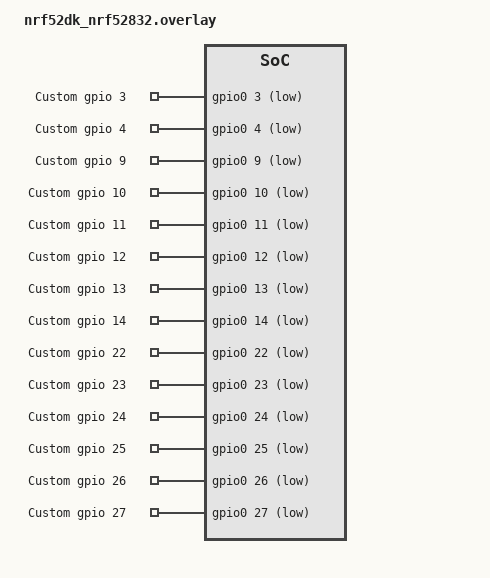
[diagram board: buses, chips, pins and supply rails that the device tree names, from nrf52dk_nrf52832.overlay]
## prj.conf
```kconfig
#
# Copyright (c) 2019 Nordic Semiconductor ASA
#
# SPDX-License-Identifier: LicenseRef-Nordic-5-Clause
#

CONFIG_NCS_SAMPLES_DEFAULTS=y

CONFIG_BT=y
CONFIG_BT_DEBUG_LOG=y
CONFIG_BT_CENTRAL=y
CONFIG_BT_MAX_CONN=2
CONFIG_BT_MAX_PAIRED=2
CONFIG_BT_SMP=y
CONFIG_BT_L2CAP_TX_BUF_COUNT=5
CONFIG_BT_PERIPHERAL=y
CONFIG_BT_DEVICE_NAME="BLE_CORNE"
CONFIG_BT_DEVICE_APPEARANCE=961
CONFIG_BT_GATT_CLIENT=y
CONFIG_BT_GATT_DM=y
CONFIG_HEAP_MEM_POOL_SIZE=1024

CONFIG_BT_SCAN=y
CONFIG_BT_SCAN_FILTER_ENABLE=y
CONFIG_BT_SCAN_UUID_CNT=1
CONFIG_BT_PRIVACY=y

#CONFIG_BT_BAS=y
CONFIG_BT_HIDS=y
CONFIG_BT_HIDS_MAX_CLIENT_COUNT=2
CONFIG_BT_HIDS_DEFAULT_PERM_RW_ENCRYPT=y
CONFIG_BT_GATT_UUID16_POOL_SIZE=40
CONFIG_BT_GATT_CHRC_POOL_SIZE=20

CONFIG_BT_CONN_CTX=y

CONFIG_BT_DIS=y
CONFIG_BT_DIS_PNP=y
CONFIG_BT_DIS_MANUF="NordicSemiconductor"
CONFIG_BT_DIS_PNP_VID_SRC=2
CONFIG_BT_DIS_PNP_VID=0x1915
CONFIG_BT_DIS_PNP_PID=0xEEEF
CONFIG_BT_DIS_PNP_VER=0x0100

CONFIG_SYSTEM_WORKQUEUE_STACK_SIZE=2048

CONFIG_BT_SETTINGS=y
CONFIG_FLASH=y
CONFIG_FLASH_PAGE_LAYOUT=y
CONFIG_FLASH_MAP=y
CONFIG_NVS=y
CONFIG_SETTINGS=y

CONFIG_DK_LIBRARY=y

CONFIG_USE_SEGGER_RTT=y
CONFIG_RTT_CONSOLE=y
CONFIG_UART_CONSOLE=n

CONFIG_BT_GATT_DM_DATA_PRINT=y
```

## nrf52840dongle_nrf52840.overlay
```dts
// To get started, press Ctrl+Space to bring up the completion menu and view the available nodes.

// You can also use the buttons in the sidebar to perform actions on nodes.
// Actions currently available include:

// * Enabling / disabling the node
// * Adding the bus to a bus
// * Removing the node
// * Connecting ADC channels

// For more help, browse the DeviceTree documentation at https://docs.zephyrproject.org/latest/guides/dts/index.html
// You can also visit the nRF DeviceTree extension documentation at https://nrfconnect.github.io/vscode-nrf-connect/devicetree/nrfdevicetree.html
/ {
    gpiocustom {
        compatible = "gpio-keys";
        gpio2: gpio_2 {
            gpios = <&gpio0 2 (GPIO_PULL_UP | GPIO_ACTIVE_LOW)>;
            label = "Custom gpio 2";
        };
        gpio9: gpio_9 {
            gpios = <&gpio0 9 (GPIO_PULL_UP | GPIO_ACTIVE_LOW)>;
            label = "Custom gpio 9";
        };
        gpio10: gpio_10 {
            gpios = <&gpio0 10 (GPIO_PULL_UP | GPIO_ACTIVE_LOW)>;
            label = "Custom gpio 10";
        };
        gpio12: gpio_12{
            gpios = <&gpio0 12 (GPIO_PULL_UP | GPIO_ACTIVE_LOW)>;
            label = "Custom gpio 12";
        };
        gpio13: gpio_13 {
            gpios = <&gpio0 13 (GPIO_PULL_UP | GPIO_ACTIVE_LOW)>;
            label = "Custom gpio 13";
        };
        gpio15: gpio_15{
            gpios = <&gpio0 15 (GPIO_PULL_UP | GPIO_ACTIVE_LOW)>;
            label = "Custom gpio 15";
        };
        gpio17: gpio_17{
            gpios = <&gpio0 17 (GPIO_PULL_UP | GPIO_ACTIVE_LOW)>;
            label = "Custom gpio 17";
        };
        gpio20: gpio_20{
            gpios = <&gpio0 20 (GPIO_PULL_UP | GPIO_ACTIVE_LOW)>;
            label = "Custom gpio 20";
        };
        gpio22: gpio_22{
            gpios = <&gpio0 22 (GPIO_PULL_UP | GPIO_ACTIVE_LOW)>;
            label = "Custom gpio 22";
        };
        gpio24: gpio_24{
            gpios = <&gpio0 24 (GPIO_PULL_UP | GPIO_ACTIVE_LOW)>;
            label = "Custom gpio 24";
        };
        gpio26: gpio_26{
            gpios = <&gpio0 26 (GPIO_PULL_UP | GPIO_ACTIVE_LOW)>;
            label = "Custom gpio 26";
        };
        gpio29: gpio_29 {
            gpios = <&gpio0 29 (GPIO_PULL_UP | GPIO_ACTIVE_LOW)>;
            label = "Custom gpio 29";
        };
        gpio31: gpio_31 {
            gpios = <&gpio0 31 (GPIO_PULL_UP | GPIO_ACTIVE_LOW)>;
            label = "Custom gpio 31";
        };

    };
    aliases {
        pin2 = &gpio2;
        pin9  = &gpio9;
        pin10 = &gpio10;
        pin13 = &gpio13;
        pin15 = &gpio15;
        pin17 = &gpio17;
        pin20 = &gpio20;
        pin22 = &gpio22;
        pin24 = &gpio24;
        pin26 = &gpio26;
        pin29 = &gpio29; 
        pin31 = &gpio31; 
    };
};
```

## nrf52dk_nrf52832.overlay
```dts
// To get started, press Ctrl+Space to bring up the completion menu and view the available nodes.

// You can also use the buttons in the sidebar to perform actions on nodes.
// Actions currently available include:

// * Enabling / disabling the node
// * Adding the bus to a bus
// * Removing the node
// * Connecting ADC channels

// For more help, browse the DeviceTree documentation at https://docs.zephyrproject.org/latest/guides/dts/index.html
// You can also visit the nRF DeviceTree extension documentation at https://nrfconnect.github.io/vscode-nrf-connect/devicetree/nrfdevicetree.html
/ {
    gpiocustom {
        compatible = "gpio-keys";
        gpio3: gpio_3 {
            gpios = <&gpio0 3 (GPIO_PULL_UP | GPIO_ACTIVE_LOW)>;
            label = "Custom gpio 3";
        };
        gpio4: gpio_4 {
            gpios = <&gpio0 4 (GPIO_PULL_UP | GPIO_ACTIVE_LOW)>;
            label = "Custom gpio 4";
        };
        gpio9: gpio_9 {
            gpios = <&gpio0 9 (GPIO_PULL_UP | GPIO_ACTIVE_LOW)>;
            label = "Custom gpio 9";
        };
        gpio10: gpio_10 {
            gpios = <&gpio0 10 (GPIO_PULL_UP | GPIO_ACTIVE_LOW)>;
            label = "Custom gpio 10";
        };
        gpio11: gpio_11 {
            gpios = <&gpio0 11 (GPIO_PULL_UP | GPIO_ACTIVE_LOW)>;
            label = "Custom gpio 11";
        };
        gpio12: gpio_12{
            gpios = <&gpio0 12 (GPIO_PULL_UP | GPIO_ACTIVE_LOW)>;
            label = "Custom gpio 12";
        };
        gpio13: gpio_13 {
            gpios = <&gpio0 13 (GPIO_PULL_UP | GPIO_ACTIVE_LOW)>;
            label = "Custom gpio 13";
        };
        gpio14: gpio_14{
            gpios = <&gpio0 14 (GPIO_PULL_UP | GPIO_ACTIVE_LOW)>;
            label = "Custom gpio 14";
        };
        gpio22: gpio_22{
            gpios = <&gpio0 22 (GPIO_PULL_UP | GPIO_ACTIVE_LOW)>;
            label = "Custom gpio 22";
        };
        gpio23: gpio_23{
            gpios = <&gpio0 23 (GPIO_PULL_UP | GPIO_ACTIVE_LOW)>;
            label = "Custom gpio 23";
        };
        gpio24: gpio_24{
            gpios = <&gpio0 24 (GPIO_PULL_UP | GPIO_ACTIVE_LOW)>;
            label = "Custom gpio 24";
        };
        gpio25: gpio_25{
            gpios = <&gpio0 25 (GPIO_PULL_UP | GPIO_ACTIVE_LOW)>;
            label = "Custom gpio 25";
        };
        gpio26: gpio_26 {
            gpios = <&gpio0 26 (GPIO_PULL_UP | GPIO_ACTIVE_LOW)>;
            label = "Custom gpio 26";
        };
        gpio27: gpio_27 {
            gpios = <&gpio0 27 (GPIO_PULL_UP | GPIO_ACTIVE_LOW)>;
            label = "Custom gpio 27";
        };

    };
    aliases {
        pin3  = &gpio3;
        pin4  = &gpio4;
        pin9  = &gpio9;
        pin10 = &gpio10;
        pin11 = &gpio11;
        pin12 = &gpio12;
        pin13 = &gpio13;
        pin14 = &gpio14;
        pin22 = &gpio22;
        pin23 = &gpio23;
        pin24 = &gpio24;
        pin25 = &gpio25;
        pin26 = &gpio26;
        pin27 = &gpio27; 
    };
};
```

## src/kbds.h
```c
/*
 * Copyright (c) 2018 Nordic Semiconductor ASA
 *
 * SPDX-License-Identifier: LicenseRef-Nordic-5-Clause
 */

#ifndef BT_KBDS_H_
#define BT_KBDS_H_

/**@file
 * @defgroup bt_kbds LED Button Service API
 * @{
 * @brief API for the LED Button Service (KBDS).
 */

#ifdef __cplusplus
extern "C" {
#endif

#include <zephyr/types.h>

/** @brief KBDS Service UUID. */
#define BT_UUID_KBDS_VAL \
	BT_UUID_128_ENCODE(0x00001523, 0x1212, 0xedfe, 0x2523, 0x7855eabcd123)

/** @brief Button Characteristic UUID. */
#define BT_UUID_KBDS_BUTTON_VAL \
	BT_UUID_128_ENCODE(0x00001524, 0x1212, 0xedfe, 0x2523, 0x7855eabcd123)


#define BT_UUID_KBDS           BT_UUID_DECLARE_128(BT_UUID_KBDS_VAL)
#define BT_UUID_KBDS_BUTTON    BT_UUID_DECLARE_128(BT_UUID_KBDS_BUTTON_VAL)

/** @brief Callback type for when the button state is pulled. */
typedef uint32_t (*button_cb_t)(void);

/** @brief Callback struct used by the KBDS Service. */
struct bt_kbds_cb {
	/** Button read callback. */
	button_cb_t button_cb;
};

/** @brief Initialize the KBDS Service.
 *
 * This function registers a GATT service with two characteristics: Button
 * and LED.
 * Send notifications for the Button Characteristic to let connected peers know
 * when the button state changes.
 * Write to the LED Characteristic to change the state of the LED on the
 * board.
 *
 * @param[in] callbacks Struct containing pointers to callback functions
 *			used by the service. This pointer can be NULL
 *			if no callback functions are defined.
 *
 *
 * @retval 0 If the operation was successful.
 *           Otherwise, a (negative) error code is returned.
 */
int bt_kbds_init(struct bt_kbds_cb *callbacks);

/** @brief Send the button state.
 *
 * This function sends a binary state, typically the state of a
 * button, to all connected peers.
 *
 * @param[in] keystate The state of the button.
 *
 * @retval 0 If the operation was successful.
 *           Otherwise, a (negative) error code is returned.
 */
int bt_kbds_send_keystate(uint32_t keystate);

#ifdef __cplusplus
}
#endif

/**
 * @}
 */

#endif /* BT_KBDS_H_ */
```

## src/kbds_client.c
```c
/*
 * Copyright (c) 2019 Nordic Semiconductor ASA
 *
 * SPDX-License-Identifier: LicenseRef-Nordic-5-Clause
 */
#include <zephyr/kernel.h>
#include <zephyr/bluetooth/conn.h>
#include <zephyr/bluetooth/uuid.h>
#include <zephyr/bluetooth/gatt.h>

//#include <bluetooth/services/kbds_client.h>
#include "kbds.h"
#include "kbds_client.h"

#include <zephyr/logging/log.h>
//LOG_MODULE_REGISTER(kbds_client, CONFIG_BT_KBDS_CLIENT_LOG_LEVEL);

/**
 * @brief Process battery level value notification
 *
 * Internal function to process report notification and pass it further.
 *
 * @param conn   Connection handler.
 * @param params Notification parameters structure - the pointer
 *               to the structure provided to subscribe function.
 * @param data   Pointer to the data buffer.
 * @param length The size of the received data.
 *
 * @retval BT_GATT_ITER_STOP     Stop notification
 * @retval BT_GATT_ITER_CONTINUE Continue notification
 */
static uint8_t notify_process(struct bt_conn *conn,
			   struct bt_gatt_subscribe_params *params,
			   const void *data, uint16_t length)
{
	struct bt_kbds_client *kbds;
	uint32_t keystates;
	const uint32_t *bdata = data;

	kbds = CONTAINER_OF(params, struct bt_kbds_client, notify_params);
    /*
	if (!data || !length) {
		printk("Notifications disabled.\n");
		if (kbds->notify_cb) {
			kbds->notify_cb(kbds, BT_KBDS_VAL_INVALID);
		}
		return BT_GATT_ITER_STOP;
	}
	if (length != 1) {
		printk("Unexpected notification value size.\n");
		if (kbds->notify_cb) {
			kbds->notify_cb(kbds, BT_KBDS_VAL_INVALID);
		}
		return BT_GATT_ITER_STOP;
	}
    printk("length %d\n",length);//4
    printk("bdata[0]: %x\n",bdata[0]);//LSB
    printk("bdata[1]: %x\n",bdata[1]);
    printk("bdata[2]: %x\n",bdata[2]);
    printk("bdata[3]: %x\n",bdata[3]);//MSB
    printk("\n");
    */

	keystates = bdata[0];
    /*

	if (keystates > BT_KBDS_VAL_MAX) {
		printk("Unexpected notification value.\n");
		if (kbds->notify_cb) {
			kbds->notify_cb(kbds, BT_KBDS_VAL_INVALID);
		}
		return BT_GATT_ITER_STOP;
	}
    */
	kbds->keystates = keystates;
	if (kbds->notify_cb) {
		kbds->notify_cb(kbds, keystates);
	}

	return BT_GATT_ITER_CONTINUE;
}

/**
 * @brief Process battery level value read
 *
 * Internal function to process report read and pass it further.
 *
 * @param conn   Connection handler.
 * @param err    Read ATT error code.
 * @param params Notification parameters structure - the pointer
 *               to the structure provided to read function.
 * @param data   Pointer to the data buffer.
 * @param length The size of the received data.
 *
 * @retval BT_GATT_ITER_STOP     Stop notification
 * @retval BT_GATT_ITER_CONTINUE Continue notification
 */
static uint8_t read_process(struct bt_conn *conn, uint8_t err,
			     struct bt_gatt_read_params *params,
			     const void *data, uint16_t length)
{
	struct bt_kbds_client *kbds;
	uint32_t keystates = BT_KBDS_VAL_INVALID;
	const uint8_t *bdata = data;

	kbds = CONTAINER_OF(params, struct bt_kbds_client, read_params);

	if (!kbds->read_cb) {
		printk("No read callback present");
	} else  if (err) {
		printk("Read value error: %d", err);
		kbds->read_cb(kbds,  keystates, err);
	} else if (!data || length != 1) {
		kbds->read_cb(kbds,  keystates, -EMSGSIZE);
	} else {
		keystates = bdata[0];
		if (keystates > BT_KBDS_VAL_MAX) {
			printk("Unexpected read value.\n");
			kbds->read_cb(kbds, BT_KBDS_VAL_INVALID, err);
		} else {
			kbds->keystates = keystates;
			kbds->read_cb(kbds, keystates, err);
		}
	}

	kbds->read_cb = NULL;

	return BT_GATT_ITER_STOP;
}

/**
 * @brief Process periodic battery level value read
 *
 * Internal function to process report read and pass it further.
 * And the end the new read request is triggered.
 *
 * @param conn   Connection handler.
 * @param err    Read ATT error code.
 * @param params Notification parameters structure - the pointer
 *               to the structure provided to read function.
 * @param data   Pointer to the data buffer.
 * @param length The size of the received data.
 *
 * @retval BT_GATT_ITER_STOP     Stop notification
 * @retval BT_GATT_ITER_CONTINUE Continue notification
 */
static uint8_t periodic_read_process(struct bt_conn *conn, uint8_t err,
				  struct bt_gatt_read_params *params,
				  const void *data, uint16_t length)
{
	int32_t interval;
	struct bt_kbds_client *kbds;
	uint32_t keystates = BT_KBDS_VAL_INVALID;
	const uint8_t *bdata = data;

	kbds = CONTAINER_OF(params, struct bt_kbds_client,
			periodic_read.params);

	if (!kbds->notify_cb) {
		printk("No notification callback present");
	} else  if (err) {
		printk("Read value error: %d", err);
	} else if (!data || length != 1) {
		printk("Unexpected read value size.\n");
	} else {
		keystates = bdata[0];
		if (keystates > BT_KBDS_VAL_MAX) {
			printk("Unexpected read value.\n");
		} else if (kbds->keystates != keystates) {
			kbds->keystates = keystates;
			kbds->notify_cb(kbds, keystates);
		} else {
			/* Do nothing. */
		}
	}

	interval = atomic_get(&kbds->periodic_read.interval);
	if (interval) {
		k_work_schedule(&kbds->periodic_read.read_work,
				K_MSEC(interval));
	}
	return BT_GATT_ITER_STOP;
}


/**
 * @brief Periodic read workqueue handler.
 *
 * @param work Work instance.
 */
static void kbds_read_value_handler(struct k_work *work)
{
	int err;
	struct bt_kbds_client *kbds;

	kbds = CONTAINER_OF(work, struct bt_kbds_client,
			     periodic_read.read_work);

	if (!atomic_get(&kbds->periodic_read.interval)) {
		/* disabled */
		return;
	}

	if (!kbds->conn) {
		printk("No connection object.\n");
		return;
	}

	kbds->periodic_read.params.func = periodic_read_process;
	kbds->periodic_read.params.handle_count  = 1;
	kbds->periodic_read.params.single.handle = kbds->val_handle;
	kbds->periodic_read.params.single.offset = 0;

	err = bt_gatt_read(kbds->conn, &kbds->periodic_read.params);

	/* Do not treats reading after disconnection as error.
	 * Periodic read process is stopped after disconnection.
	 */
	if (err) {
		printk("Periodic Battery Level characteristic read error: %d",
			err);
	}
}


/**
 * @brief Reinitialize the KBDS Client.
 *
 * @param kbds KBDS Client object.
 */
static void kbds_reinit(struct bt_kbds_client *kbds)
{
	kbds->ccc_handle = 0;
	kbds->val_handle = 0;
	kbds->keystates = BT_KBDS_VAL_INVALID;
	kbds->conn = NULL;
	kbds->notify_cb = NULL;
	kbds->read_cb = NULL;
	kbds->notify = false;
}


void bt_kbds_client_init(struct bt_kbds_client *kbds)
{
	memset(kbds, 0, sizeof(*kbds));
	kbds->keystates = BT_KBDS_VAL_INVALID;

	k_work_init_delayable(&kbds->periodic_read.read_work,
			      kbds_read_value_handler);
}


int bt_kbds_handles_assign(struct bt_gatt_dm *dm,
				 struct bt_kbds_client *kbds)
{
	const struct bt_gatt_dm_attr *gatt_service_attr =
			bt_gatt_dm_service_get(dm);
	const struct bt_gatt_service_val *gatt_service =
			bt_gatt_dm_attr_service_val(gatt_service_attr);
	const struct bt_gatt_dm_attr *gatt_chrc;
	const struct bt_gatt_dm_attr *gatt_desc;
	const struct bt_gatt_chrc *chrc_val;

	if (bt_uuid_cmp(gatt_service->uuid, BT_UUID_KBDS)) {
		return -ENOTSUP;
	}
	printk("Getting handles from battery service.\n");

	/* If connection is established again, cancel previous read request. */
	k_work_cancel_delayable(&kbds->periodic_read.read_work);
	/* When workqueue is used its instance cannont be cleared. */
	kbds_reinit(kbds);

	/* Battery level characteristic */
	gatt_chrc = bt_gatt_dm_char_by_uuid(dm, BT_UUID_KBDS_BUTTON);
	if (!gatt_chrc) {
		printk("No battery level characteristic found.\n");
		return -EINVAL;
	}
	chrc_val = bt_gatt_dm_attr_chrc_val(gatt_chrc);
	__ASSERT_NO_MSG(chrc_val); /* This is internal function and it has to
				    * be called with characteristic attribute
				    */
	kbds->properties = chrc_val->properties;
	gatt_desc = bt_gatt_dm_desc_by_uuid(dm, gatt_chrc,
					    BT_UUID_KBDS_BUTTON);
	if (!gatt_desc) {
		printk("No battery level characteristic value found.\n");
		return -EINVAL;
	}
	kbds->val_handle = gatt_desc->handle;

	gatt_desc = bt_gatt_dm_desc_by_uuid(dm, gatt_chrc, BT_UUID_GATT_CCC);
	if (!gatt_desc) {
		printk("No battery CCC descriptor found. Battery service do not supported notification.\n");
	} else {
		kbds->notify = true;
		kbds->ccc_handle = gatt_desc->handle;
	}

	/* Finally - save connection object */
	kbds->conn = bt_gatt_dm_conn_get(dm);
	return 0;
}

int bt_kbds_subscribe_keystates(struct bt_kbds_client *kbds,
				   bt_kbds_notify_cb func)
{
	int err;

	if (!kbds || !func) {
		return -EINVAL;
	}
	if (!kbds->conn) {
		return -EINVAL;
	}
	if (!(kbds->properties & BT_GATT_CHRC_NOTIFY)) {
		return -ENOTSUP;
	}
	if (kbds->notify_cb) {
		return -EALREADY;
	}

	kbds->notify_cb = func;

	kbds->notify_params.notify = notify_process;
	kbds->notify_params.value = BT_GATT_CCC_NOTIFY;
	kbds->notify_params.value_handle = kbds->val_handle;
	kbds->notify_params.ccc_handle = kbds->ccc_handle;
	atomic_set_bit(kbds->notify_params.flags,
		       BT_GATT_SUBSCRIBE_FLAG_VOLATILE);

	printk("Subscribe: val: %u, ccc: %u \n",
		kbds->notify_params.value_handle,
		kbds->notify_params.ccc_handle);
	err = bt_gatt_subscribe(kbds->conn, &kbds->notify_params);
	if (err) {
		printk("Report notification subscribe error: %d.\n", err);
		kbds->notify_cb = NULL;
		return err;
	}
	printk("Report subscribed.\n");
	return err;
}


int bt_kbds_unsubscribe_keystates(struct bt_kbds_client *kbds)
{
	int err;

	if (!kbds) {
		return -EINVAL;
	}

	if (!kbds->notify_cb) {
		return -EFAULT;
	}

	err = bt_gatt_unsubscribe(kbds->conn, &kbds->notify_params);
	kbds->notify_cb = NULL;
	return err;
}


struct bt_conn *bt_kbds_conn(const struct bt_kbds_client *kbds)
{
	return kbds->conn;
}


int bt_kbds_read_keystates(struct bt_kbds_client *kbds, bt_kbds_read_cb func)
{
	int err;

	if (!kbds || !func) {
		return -EINVAL;
	}
	if (!kbds->conn) {
		return -EINVAL;
	}
	if (kbds->read_cb) {
		return -EBUSY;
	}
	kbds->read_cb = func;
	kbds->read_params.func = read_process;
	kbds->read_params.handle_count  = 1;
	kbds->read_params.single.handle = kbds->val_handle;
	kbds->read_params.single.offset = 0;

	err = bt_gatt_read(kbds->conn, &kbds->read_params);
	if (err) {
		kbds->read_cb = NULL;
		return err;
	}
	return 0;
}


int bt_kbds_get_last_keystates(struct bt_kbds_client *kbds)
{
	if (!kbds) {
		return -EINVAL;
	}

	return kbds->keystates;
}


int bt_kbds_start_per_read_keystates(struct bt_kbds_client *kbds,
					int32_t interval,
					bt_kbds_notify_cb func)
{
	if (!kbds || !func || !interval) {
		return -EINVAL;
	}

	if (bt_kbds_notify_supported(kbds)) {
		return -ENOTSUP;
	}

	kbds->notify_cb = func;
	atomic_set(&kbds->periodic_read.interval, interval);
	k_work_schedule(&kbds->periodic_read.read_work, K_MSEC(interval));

	return 0;
}


void bt_kbds_stop_per_read_keystates(struct bt_kbds_client *kbds)
{
	/* If read is proccesed now, prevent triggering new
	 * characteristic read.
	 */
	atomic_set(&kbds->periodic_read.interval, 0);

	/* If delayed workqueue pending, cancel it. If this fails, we'll exit
	 * early in the read handler due to the interval.
	 */
	k_work_cancel_delayable(&kbds->periodic_read.read_work);
}
```

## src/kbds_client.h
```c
/*
 * Copyright (c) 2018 Nordic Semiconductor
 *
 * SPDX-License-Identifier: LicenseRef-Nordic-5-Clause
 */
#ifndef __KBDS_C_H
#define __KBDS_C_H

/**
 * @file
 * @defgroup bt_kbds_client_api Battery Service Client API
 * @{
 * @brief API for the Bluetooth LE GATT Battery Service (KBDS) Client.
 */

#include <zephyr/kernel.h>
#include <sys/types.h>
#include <zephyr/bluetooth/gatt.h>
#include <zephyr/bluetooth/conn.h>
#include <zephyr/bluetooth/uuid.h>
#include <bluetooth/gatt_dm.h>

#include "kbds.h"

/**
 * @brief Value that shows that the battery level is invalid.
 *
 * This value is stored in the KBDS Client object when the battery level
 * information is unknown.
 *
 * The same value is used to mark the fact that a notification has been
 * aborted (see @ref bt_kbds_notify_cb).
 */
#define BT_KBDS_VAL_INVALID (255)

/**
 * @brief Maximum allowed value for battery level.
 *
 * Any value above that limit is treated as invalid.
 */
#define BT_KBDS_VAL_MAX (100)

struct bt_kbds_client;

/**
 * @brief Value notification callback.
 *
 * This function is called every time the server sends a notification
 * for a changed value.
 *
 * @param kbds           KBDS Client object.
 * @param keystates The notified battery level value, or
 *                      @ref BT_KBDS_VAL_INVALID if the notification
 *                      was interrupted by the server
 *                      (NULL received from the stack).
 */
typedef void (*bt_kbds_notify_cb)(struct bt_kbds_client *kbds,
				 uint32_t keystates);

/**
 * @brief Read complete callback.
 *
 * This function is called when the read operation finishes.
 *
 * @param kbds           KBDS Client object.
 * @param keystates The battery level value that was read.
 * @param err           ATT error code or 0.
 */
typedef void (*bt_kbds_read_cb)(struct bt_kbds_client *kbds,
			       uint32_t keystates,
			       int err);

/* @brief Battery Service Client characteristic periodic read. */
struct bt_kbds_periodic_read {
	/** Work queue used to measure the read interval. */
	struct k_work_delayable read_work;
	/** Read parameters. */
	struct bt_gatt_read_params params;
	/** Read value interval. */
	atomic_t interval;
};

/** @brief Battery Service Client instance. */
struct bt_kbds_client {
	/** Connection handle. */
	struct bt_conn *conn;
	/** Notification parameters. */
	struct bt_gatt_subscribe_params notify_params;
	/** Read parameters. */
	struct bt_gatt_read_params read_params;
	/** Read characteristic value timing. Used when characteristic do not
	 *  have a CCCD descriptor.
	 */
	struct bt_kbds_periodic_read periodic_read;
	/** Notification callback. */
	bt_kbds_notify_cb notify_cb;
	/** Read value callback. */
	bt_kbds_read_cb read_cb;
	/** Handle of the Battery Level Characteristic. */
	uint16_t val_handle;
	/** Handle of the CCCD of the Battery Level Characteristic. */
	uint16_t ccc_handle;
	/** Current battery value. */
	uint32_t keystates;
	/** Properties of the service. */
	uint8_t properties;
	/** Notification supported. */
	bool notify;
};

/**
 * @brief Initialize the KBDS Client instance.
 *
 * You must call this function on the KBDS Client object before
 * any other function.
 *
 * @param kbds  KBDS Client object.
 */
void bt_kbds_client_init(struct bt_kbds_client *kbds);

/**
 * @brief Assign handles to the KBDS Client instance.
 *
 * This function should be called when a connection with a peer has been
 * established, to associate the connection to this instance of the module.
 * This makes it possible to handle multiple connections and associate each
 * connection to a particular instance of this module.
 * The GATT attribute handles are provided by the GATT Discovery Manager.
 *
 * @param dm    Discovery object.
 * @param kbds KBDS Client object.
 *
 * @retval 0 If the operation was successful.
 *           Otherwise, a (negative) error code is returned.
 * @retval (-ENOTSUP) Special error code used when the UUID
 *         of the service does not match the expected UUID.
 */
int bt_kbds_handles_assign(struct bt_gatt_dm *dm,
			  struct bt_kbds_client *kbds);

/**
 * @brief Subscribe to the battery level value change notification.
 *
 * @param kbds KBDS Client object.
 * @param func  Callback function handler.
 *
 * @retval 0 If the operation was successful.
 *           Otherwise, a (negative) error code is returned.
 * @retval -ENOTSUP Special error code used if the connected server
 *         does not support notifications.
 */
int bt_kbds_subscribe_keystates(struct bt_kbds_client *kbds,
				   bt_kbds_notify_cb func);

/**
 * @brief Remove the subscription.
 *
 * @param kbds KBDS Client object.
 *
 * @retval 0 If the operation was successful.
 *           Otherwise, a (negative) error code is returned.
 */
int bt_kbds_unsubscribe_keystates(struct bt_kbds_client *kbds);

/**
 * @brief Get the connection object that is used with a given KBDS Client.
 *
 * @param kbds KBDS Client object.
 *
 * @return Connection object.
 */
struct bt_conn *bt_kbds_conn(const struct bt_kbds_client *kbds);


/**
 * @brief Read the battery level value from the device.
 *
 * This function sends a read request to the connected device.
 *
 * @param kbds KBDS Client object.
 * @param func  The callback function.
 *
 * @retval 0 If the operation was successful.
 *           Otherwise, a (negative) error code is returned.
 */
int bt_kbds_read_keystates(struct bt_kbds_client *kbds, bt_kbds_read_cb func);

/**
 * @brief Get the last known battery level.
 *
 * This function returns the last known battery level value.
 * The battery level is stored when a notification or read response is
 * received.
 *
 * @param kbds KBDS Client object.
 *
 * @return Battery level or negative error code.
 */
int bt_kbds_get_last_keystates(struct bt_kbds_client *kbds);

/**
 * @brief Check whether notification is supported by the service.
 *
 * @param kbds KBDS Client object.
 *
 * @retval true If notifications are supported.
 *              Otherwise, @c false is returned.
 */
static inline bool bt_kbds_notify_supported(struct bt_kbds_client *kbds)
{
	return kbds->notify;
}

/**
 * @brief Periodically read the battery level value from the device with
 *        specific time interval.
 *
 * @param kbds KBDS Client object.
 * @param interval Characteristic Read interval in milliseconds.
 * @param func The callback function.
 *
 * @retval 0 If the operation was successful.
 *           Otherwise, a (negative) error code is returned.
 */
int bt_kbds_start_per_read_keystates(struct bt_kbds_client *kbds,
					int32_t interval,
					bt_kbds_notify_cb func);

/**
 * @brief Stop periodic reading of the battery value from the device.
 *
 * @param kbds KBDS Client object.
 */
void bt_kbds_stop_per_read_keystates(struct bt_kbds_client *kbds);

/**
 * @}
 */


#endif /* __KBDS_C_H  */
```

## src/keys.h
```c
/**
 * USB HID Keyboard scan codes as per USB spec 1.11
 * plus some additional codes
 * 
 * Created by MightyPork, 2016
 * Public domain
 * 
 * Adapted from:
 * https://source.android.com/devices/input/keyboard-devices.html
 */

#ifndef USB_HID_KEYS
#define USB_HID_KEYS
#include <zephyr/types.h>

#define NUM_OF_MOD 0x08

/**
 * Modifier masks - used for the first byte in the HID report.
 * NOTE: The second byte in the report is reserved, 0x00
 */
#define KEY_MOD_LCTRL  0x01
#define KEY_MOD_LSHIFT 0x02
#define KEY_MOD_LALT   0x04
#define KEY_MOD_LMETA  0x08
#define KEY_MOD_RCTRL  0x10
#define KEY_MOD_RSHIFT 0x20
#define KEY_MOD_RALT   0x40
#define KEY_MOD_RMETA  0x80

/**
 * Scan codes - last N slots in the HID report (usually 6).
 * 0x00 if no key pressed.
 * 
 * If more than N keys are pressed, the HID reports 
 * KEY_ERR_OVF in all slots to indicate this condition.
 */

#define KEY_NONE 0x00 // No key pressed
#define KEY_ERR_OVF 0x01 //  Keyboard Error Roll Over - used for all slots if too many keys are pressed ("Phantom key")
// 0x02 //  Keyboard POST Fail
// 0x03 //  Keyboard Error Undefined
#define KEY_A 0x04 // Keyboard a and A
#define KEY_B 0x05 // Keyboard b and B
#define KEY_C 0x06 // Keyboard c and C
#define KEY_D 0x07 // Keyboard d and D
#define KEY_E 0x08 // Keyboard e and E
#define KEY_F 0x09 // Keyboard f and F
#define KEY_G 0x0a // Keyboard g and G
#define KEY_H 0x0b // Keyboard h and H
#define KEY_I 0x0c // Keyboard i and I
#define KEY_J 0x0d // Keyboard j and J
#define KEY_K 0x0e // Keyboard k and K
#define KEY_L 0x0f // Keyboard l and L
#define KEY_M 0x10 // Keyboard m and M
#define KEY_N 0x11 // Keyboard n and N
#define KEY_O 0x12 // Keyboard o and O
#define KEY_P 0x13 // Keyboard p and P
#define KEY_Q 0x14 // Keyboard q and Q
#define KEY_R 0x15 // Keyboard r and R
#define KEY_S 0x16 // Keyboard s and S
#define KEY_T 0x17 // Keyboard t and T
#define KEY_U 0x18 // Keyboard u and U
#define KEY_V 0x19 // Keyboard v and V
#define KEY_W 0x1a // Keyboard w and W
#define KEY_X 0x1b // Keyboard x and X
#define KEY_Y 0x1c // Keyboard y and Y
#define KEY_Z 0x1d // Keyboard z and Z

#define KEY_1 0x1e // Keyboard 1 and !
#define KEY_2 0x1f // Keyboard 2 and @
#define KEY_3 0x20 // Keyboard 3 and #
#define KEY_4 0x21 // Keyboard 4 and $
#define KEY_5 0x22 // Keyboard 5 and %
#define KEY_6 0x23 // Keyboard 6 and ^
#define KEY_7 0x24 // Keyboard 7 and &
#define KEY_8 0x25 // Keyboard 8 and *
#define KEY_9 0x26 // Keyboard 9 and (
#define KEY_0 0x27 // Keyboard 0 and )

#define KEY_ENTER 0x28 // Keyboard Return (ENTER)
#define KEY_ESC 0x29 // Keyboard ESCAPE
#define KEY_BACKSPACE 0x2a // Keyboard DELETE (Backspace)
#define KEY_TAB 0x2b // Keyboard Tab
#define KEY_SPACE 0x2c // Keyboard Spacebar
#define KEY_MINUS 0x2d // Keyboard - and _
#define KEY_EQUAL 0x2e // Keyboard = and +
#define KEY_LEFTBRACE 0x2f // Keyboard [ and {
#define KEY_RIGHTBRACE 0x30 // Keyboard ] and }
#define KEY_BACKSLASH 0x31 // Keyboard \ and |
#define KEY_HASHTILDE 0x32 // Keyboard Non-US # and ~
#define KEY_SEMICOLON 0x33 // Keyboard ; and :
#define KEY_APOSTROPHE 0x34 // Keyboard ' and "
#define KEY_GRAVE 0x35 // Keyboard ` and ~
#define KEY_COMMA 0x36 // Keyboard , and <
#define KEY_DOT 0x37 // Keyboard . and >
#define KEY_SLASH 0x38 // Keyboard / and ?
#define KEY_CAPSLOCK 0x39 // Keyboard Caps Lock

#define KEY_F1 0x3a // Keyboard F1
#define KEY_F2 0x3b // Keyboard F2
#define KEY_F3 0x3c // Keyboard F3
#define KEY_F4 0x3d // Keyboard F4
#define KEY_F5 0x3e // Keyboard F5
#define KEY_F6 0x3f // Keyboard F6
#define KEY_F7 0x40 // Keyboard F7
#define KEY_F8 0x41 // Keyboard F8
#define KEY_F9 0x42 // Keyboard F9
#define KEY_F10 0x43 // Keyboard F10
#define KEY_F11 0x44 // Keyboard F11
#define KEY_F12 0x45 // Keyboard F12

#define KEY_SYSRQ 0x46 // Keyboard Print Screen
#define KEY_SCROLLLOCK 0x47 // Keyboard Scroll Lock
#define KEY_PAUSE 0x48 // Keyboard Pause
#define KEY_INSERT 0x49 // Keyboard Insert
#define KEY_HOME 0x4a // Keyboard Home
#define KEY_PAGEUP 0x4b // Keyboard Page Up
#define KEY_DELETE 0x4c // Keyboard Delete Forward
#define KEY_END 0x4d // Keyboard End
#define KEY_PAGEDOWN 0x4e // Keyboard Page Down
#define KEY_RIGHT 0x4f // Keyboard Right Arrow
#define KEY_LEFT 0x50 // Keyboard Left Arrow
#define KEY_DOWN 0x51 // Keyboard Down Arrow
#define KEY_UP 0x52 // Keyboard Up Arrow

#define KEY_NUMLOCK 0x53 // Keyboard Num Lock and Clear
#define KEY_KPSLASH 0x54 // Keypad /
#define KEY_KPASTERISK 0x55 // Keypad *
#define KEY_KPMINUS 0x56 // Keypad -
#define KEY_KPPLUS 0x57 // Keypad +
#define KEY_KPENTER 0x58 // Keypad ENTER
#define KEY_KP1 0x59 // Keypad 1 and End
#define KEY_KP2 0x5a // Keypad 2 and Down Arrow
#define KEY_KP3 0x5b // Keypad 3 and PageDn
#define KEY_KP4 0x5c // Keypad 4 and Left Arrow
#define KEY_KP5 0x5d // Keypad 5
#define KEY_KP6 0x5e // Keypad 6 and Right Arrow
#define KEY_KP7 0x5f // Keypad 7 and Home
#define KEY_KP8 0x60 // Keypad 8 and Up Arrow
#define KEY_KP9 0x61 // Keypad 9 and Page Up
#define KEY_KP0 0x62 // Keypad 0 and Insert
#define KEY_KPDOT 0x63 // Keypad . and Delete

#define KEY_102ND 0x64 // Keyboard Non-US \ and |
#define KEY_COMPOSE 0x65 // Keyboard Application
#define KEY_POWER 0x66 // Keyboard Power
#define KEY_KPEQUAL 0x67 // Keypad =

#define KEY_F13 0x68 // Keyboard F13
#define KEY_F14 0x69 // Keyboard F14
#define KEY_F15 0x6a // Keyboard F15
#define KEY_F16 0x6b // Keyboard F16
#define KEY_F17 0x6c // Keyboard F17
#define KEY_F18 0x6d // Keyboard F18
#define KEY_F19 0x6e // Keyboard F19
#define KEY_F20 0x6f // Keyboard F20
#define KEY_F21 0x70 // Keyboard F21
#define KEY_F22 0x71 // Keyboard F22
#define KEY_F23 0x72 // Keyboard F23
#define KEY_F24 0x73 // Keyboard F24

#define KEY_OPEN 0x74 // Keyboard Execute
#define KEY_HELP 0x75 // Keyboard Help
#define KEY_PROPS 0x76 // Keyboard Menu
#define KEY_FRONT 0x77 // Keyboard Select
#define KEY_STOP 0x78 // Keyboard Stop
#define KEY_AGAIN 0x79 // Keyboard Again
#define KEY_UNDO 0x7a // Keyboard Undo
#define KEY_CUT 0x7b // Keyboard Cut
#define KEY_COPY 0x7c // Keyboard Copy
#define KEY_PASTE 0x7d // Keyboard Paste
#define KEY_FIND 0x7e // Keyboard Find
#define KEY_MUTE 0x7f // Keyboard Mute
#define KEY_VOLUMEUP 0x80 // Keyboard Volume Up
#define KEY_VOLUMEDOWN 0x81 // Keyboard Volume Down
// 0x82  Keyboard Locking Caps Lock
// 0x83  Keyboard Locking Num Lock
// 0x84  Keyboard Locking Scroll Lock
#define KEY_KPCOMMA 0x85 // Keypad Comma
// 0x86  Keypad Equal Sign
#define KEY_RO 0x87 // Keyboard International1
#define KEY_KATAKANAHIRAGANA 0x88 // Keyboard International2
#define KEY_YEN 0x89 // Keyboard International3
#define KEY_HENKAN 0x8a // Keyboard International4
#define KEY_MUHENKAN 0x8b // Keyboard International5
#define KEY_KPJPCOMMA 0x8c // Keyboard International6
// 0x8d  Keyboard International7
// 0x8e  Keyboard International8
// 0x8f  Keyboard International9
#define KEY_HANGEUL 0x90 // Keyboard LANG1
#define KEY_HANJA 0x91 // Keyboard LANG2
#define KEY_KATAKANA 0x92 // Keyboard LANG3
#define KEY_HIRAGANA 0x93 // Keyboard LANG4
#define KEY_ZENKAKUHANKAKU 0x94 // Keyboard LANG5
// 0x95  Keyboard LANG6
// 0x96  Keyboard LANG7
// 0x97  Keyboard LANG8
// 0x98  Keyboard LANG9
// 0x99  Keyboard Alternate Erase
// 0x9a  Keyboard SysReq/Attention
// 0x9b  Keyboard Cancel
// 0x9c  Keyboard Clear
// 0x9d  Keyboard Prior
// 0x9e  Keyboard Return
// 0x9f  Keyboard Separator
// 0xa0  Keyboard Out
// 0xa1  Keyboard Oper
// 0xa2  Keyboard Clear/Again
// 0xa3  Keyboard CrSel/Props
// 0xa4  Keyboard ExSel

// 0xb0  Keypad 00
// 0xb1  Keypad 000
// 0xb2  Thousands Separator
// 0xb3  Decimal Separator
// 0xb4  Currency Unit
// 0xb5  Currency Sub-unit
#define KEY_KPLEFTPAREN 0xb6 // Keypad (
#define KEY_KPRIGHTPAREN 0xb7 // Keypad )
// 0xb8  Keypad {
// 0xb9  Keypad }
// 0xba  Keypad Tab
// 0xbb  Keypad Backspace
// 0xbc  Keypad A
// 0xbd  Keypad B
// 0xbe  Keypad C
// 0xbf  Keypad D
// 0xc0  Keypad E
// 0xc1  Keypad F
// 0xc2  Keypad XOR
// 0xc3  Keypad ^
// 0xc4  Keypad %
// 0xc5  Keypad <
// 0xc6  Keypad >
// 0xc7  Keypad &
// 0xc8  Keypad &&
// 0xc9  Keypad |
// 0xca  Keypad ||
// 0xcb  Keypad :
// 0xcc  Keypad #
// 0xcd  Keypad Space
// 0xce  Keypad @
// 0xcf  Keypad !
// 0xd0  Keypad Memory Store
// 0xd1  Keypad Memory Recall
// 0xd2  Keypad Memory Clear
// 0xd3  Keypad Memory Add
// 0xd4  Keypad Memory Subtract
// 0xd5  Keypad Memory Multiply
// 0xd6  Keypad Memory Divide
// 0xd7  Keypad +/-
// 0xd8  Keypad Clear
// 0xd9  Keypad Clear Entry
// 0xda  Keypad Binary
// 0xdb  Keypad Octal
// 0xdc  Keypad Decimal
// 0xdd  Keypad Hexadecimal

#define KEY_LEFTCTRL 0xe0 // Keyboard Left Control
#define KEY_LEFTSHIFT 0xe1 // Keyboard Left Shift
#define KEY_LEFTALT 0xe2 // Keyboard Left Alt
#define KEY_LEFTMETA 0xe3 // Keyboard Left GUI
#define KEY_RIGHTCTRL 0xe4 // Keyboard Right Control
#define KEY_RIGHTSHIFT 0xe5 // Keyboard Right Shift
#define KEY_RIGHTALT 0xe6 // Keyboard Right Alt
#define KEY_RIGHTMETA 0xe7 // Keyboard Right GUI

#define KEY_MEDIA_PLAYPAUSE 0xe8
#define KEY_MEDIA_STOPCD 0xe9
#define KEY_MEDIA_PREVIOUSSONG 0xea
#define KEY_MEDIA_NEXTSONG 0xeb
#define KEY_MEDIA_EJECTCD 0xec
#define KEY_MEDIA_VOLUMEUP 0xed
#define KEY_MEDIA_VOLUMEDOWN 0xee
#define KEY_MEDIA_MUTE 0xef
#define KEY_MEDIA_WWW 0xf0
#define KEY_MEDIA_BACK 0xf1
#define KEY_MEDIA_FORWARD 0xf2
#define KEY_MEDIA_STOP 0xf3
#define KEY_MEDIA_FIND 0xf4
#define KEY_MEDIA_SCROLLUP 0xf5
#define KEY_MEDIA_SCROLLDOWN 0xf6
#define KEY_MEDIA_EDIT 0xf7
#define KEY_MEDIA_SLEEP 0xf8
#define KEY_MEDIA_COFFEE 0xf9
#define KEY_MEDIA_REFRESH 0xfa
#define KEY_MEDIA_CALC 0xfb


const uint8_t key_map_left[4][4][6] = {{{KEY_TAB, KEY_Q, KEY_W, KEY_E, KEY_R, KEY_T},
                                        {KEY_MOD_LCTRL, KEY_A, KEY_S, KEY_D, KEY_F, KEY_G},
                                        {KEY_MOD_LSHIFT, KEY_Z, KEY_X, KEY_C, KEY_V, KEY_B},
                                        {KEY_NONE, KEY_NONE, KEY_NONE, KEY_MOD_LMETA, KEY_NONE, KEY_SPACE}}, 

                                        {{KEY_TAB, KEY_1, KEY_2, KEY_3, KEY_4, KEY_5},
                                        {KEY_MOD_LCTRL, KEY_NONE, KEY_NONE, KEY_NONE, KEY_NONE, KEY_NONE},
                                        {KEY_MOD_LSHIFT, KEY_NONE, KEY_NONE, KEY_NONE, KEY_NONE, KEY_NONE},
                                        {KEY_NONE, KEY_NONE, KEY_NONE, KEY_MOD_LMETA, KEY_NONE, KEY_SPACE}}, 

                                        {{KEY_TAB, KEY_1, KEY_2, KEY_3, KEY_4, KEY_5},  
                                        {KEY_MOD_LCTRL, KEY_NONE, KEY_NONE, KEY_NONE, KEY_NONE, KEY_NONE},  
                                        {KEY_MOD_LSHIFT, KEY_NONE, KEY_NONE, KEY_NONE, KEY_NONE, KEY_NONE},  
                                        {KEY_NONE, KEY_NONE, KEY_NONE, KEY_MOD_LMETA, KEY_NONE, KEY_SPACE}}, 

                                        {{KEY_TAB, KEY_NONE, KEY_NONE, KEY_NONE, KEY_NONE, KEY_NONE},  
                                        {KEY_MOD_LCTRL, KEY_NONE, KEY_NONE, KEY_NONE, KEY_NONE, KEY_NONE},  
                                        {KEY_MOD_LSHIFT, KEY_F1, KEY_F2, KEY_F3, KEY_F4, KEY_F5},  
                                        {KEY_NONE, KEY_NONE, KEY_NONE, KEY_MOD_LMETA, KEY_NONE, KEY_SPACE}}, 
                                        };

const uint8_t key_map_right[4][4][6] = {{{KEY_Y, KEY_U, KEY_I, KEY_O, KEY_P, KEY_BACKSPACE},
                                        {KEY_H, KEY_J, KEY_K, KEY_L, KEY_SEMICOLON, KEY_APOSTROPHE},
                                        {KEY_N, KEY_M, KEY_COMMA, KEY_DOT, KEY_SLASH, KEY_ESC},
                                        {KEY_ENTER, KEY_NONE, KEY_MOD_LALT, KEY_NONE, KEY_NONE, KEY_NONE}},

                                        {{KEY_6, KEY_7, KEY_8, KEY_9, KEY_0, KEY_BACKSPACE},
                                        {KEY_LEFT, KEY_DOWN, KEY_UP, KEY_RIGHT, KEY_NONE, KEY_GRAVE},
                                        {KEY_NONE, KEY_NONE, KEY_NONE, KEY_NONE, KEY_NONE, KEY_ESC},
                                        {KEY_ENTER, KEY_NONE, KEY_MOD_LALT, KEY_NONE, KEY_NONE, KEY_NONE}}, 

                                        {{KEY_6, KEY_7, KEY_8, KEY_9, KEY_0, KEY_BACKSPACE},
                                        {KEY_MINUS, KEY_EQUAL, KEY_RIGHTBRACE, KEY_LEFTBRACE, KEY_BACKSLASH, KEY_NONE},
                                        {KEY_NONE, KEY_NONE, KEY_NONE, KEY_NONE, KEY_NONE, KEY_ESC},
                                        {KEY_ENTER, KEY_NONE, KEY_MOD_LALT, KEY_NONE, KEY_NONE, KEY_NONE}}, 

                                        {{KEY_NONE, KEY_NONE, KEY_NONE, KEY_NONE, KEY_NONE, KEY_BACKSPACE},
                                        {KEY_NONE, KEY_NONE, KEY_NONE, KEY_NONE, KEY_F11, KEY_F12},
                                        {KEY_F6, KEY_F7, KEY_F8, KEY_F9, KEY_F10, KEY_ESC},
                                        {KEY_ENTER, KEY_NONE, KEY_MOD_LALT, KEY_NONE, KEY_NONE, KEY_NONE}}
                                        };

const uint8_t mod_chr[8] = {KEY_MOD_LCTRL,
                                    KEY_MOD_LSHIFT,
                                    KEY_MOD_LALT,
                                    KEY_MOD_LMETA,
                                    KEY_MOD_RCTRL,
                                    KEY_MOD_RSHIFT,
                                    KEY_MOD_RALT,
                                    KEY_MOD_RMETA
                                    };

bool is_ith_bit_set(uint32_t number, int bit){
    if(bit >= 32){return false;}
    if(number & (1 << (bit))){return true;}
    return false;
}

bool is_mod_chr(bool l_or_r, int pos){//by postion in key map
    if(l_or_r){//left
        if(pos == 6 || pos == 12 || pos == 21){return true;}
    }else{//right
        if(pos == 20){return true;}
    }
    return false;
}

uint8_t get_mod_chr(uint8_t *chr){
    for(int i=0; i<NUM_OF_MOD;i++){
        if(*chr == mod_chr[i]){
            return mod_chr[i];
        }
    }
    return 0xFF;//Was not a mod chr
}

void set_or_clear_mod_byte(uint8_t *mod_byte, bool down, uint8_t *chr){
    printk("mod byte b4 %x | ", *mod_byte);
    if(down){
        *mod_byte |= *chr;
    }else{
        *mod_byte &= ~(*chr);
    } 
    printk("after %x\n", *mod_byte);
} 

void temp_name(){

}

#endif // USB_HID_KEYS
```
